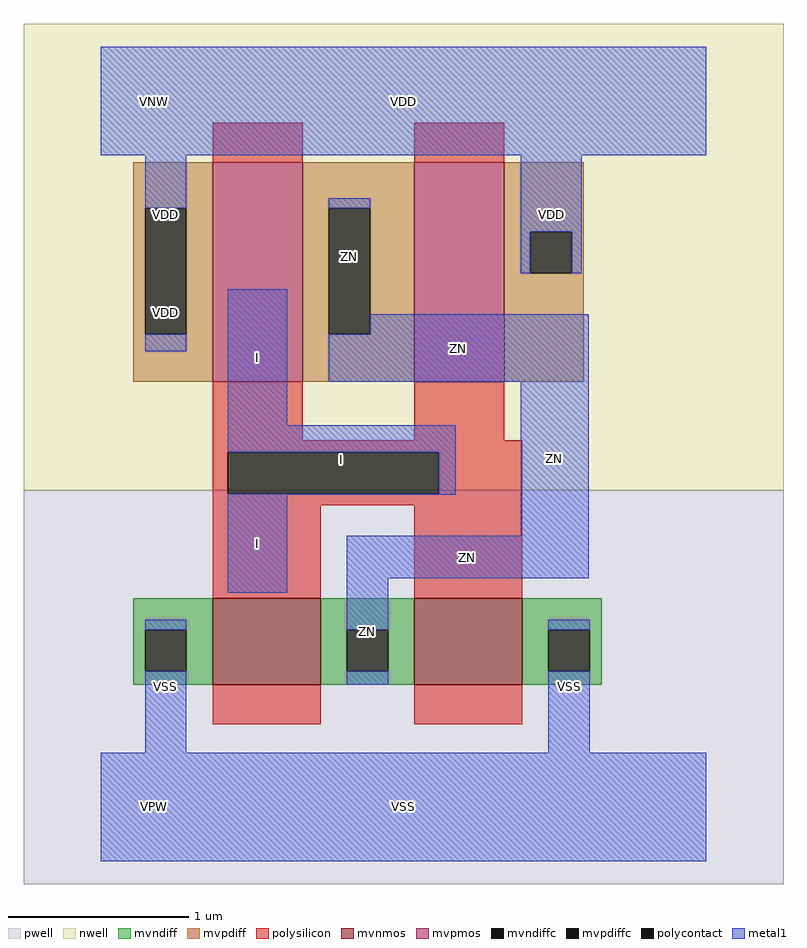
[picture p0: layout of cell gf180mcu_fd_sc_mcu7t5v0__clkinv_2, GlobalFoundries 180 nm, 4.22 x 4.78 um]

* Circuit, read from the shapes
.subckt gf180mcu_fd_sc_mcu7t5v0__clkinv_2 I ZN VDD VNW VPW VSS
XM1 ZN I VSS VPW nfet_06v0 w=0.48u l=0.6u m=2
XM2 ZN I VDD VNW pfet_06v0 w=1.22u l=0.5u m=2
.ends

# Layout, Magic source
magic
tech gf180mcuD
magscale 1 10
<< nwell >>
rect -86 352 758 870
<< pwell >>
rect -86 -86 758 352
<< mvnmos >>
rect 124 136 244 232
rect 348 136 468 232
<< mvpmos >>
rect 124 472 224 716
rect 348 472 448 716
<< mvndiff >>
rect 36 197 124 232
rect 36 151 49 197
rect 95 151 124 197
rect 36 136 124 151
rect 244 197 348 232
rect 244 151 273 197
rect 319 151 348 197
rect 244 136 348 151
rect 468 197 556 232
rect 468 151 497 197
rect 543 151 556 197
rect 468 136 556 151
<< mvpdiff >>
rect 36 665 124 716
rect 36 525 49 665
rect 95 525 124 665
rect 36 472 124 525
rect 224 665 348 716
rect 224 525 253 665
rect 299 525 348 665
rect 224 472 348 525
rect 448 639 536 716
rect 448 593 477 639
rect 523 593 536 639
rect 448 472 536 593
<< mvndiffc >>
rect 49 151 95 197
rect 273 151 319 197
rect 497 151 543 197
<< mvpdiffc >>
rect 49 525 95 665
rect 253 525 299 665
rect 477 593 523 639
<< polysilicon >>
rect 124 716 224 760
rect 348 716 448 760
rect 124 407 224 472
rect 348 407 448 472
rect 124 394 468 407
rect 124 348 141 394
rect 375 348 468 394
rect 124 335 468 348
rect 124 232 244 335
rect 348 232 468 335
rect 124 92 244 136
rect 348 92 468 136
<< polycontact >>
rect 141 348 375 394
<< metal1 >>
rect 0 724 672 844
rect 49 665 95 724
rect 253 665 299 676
rect 49 506 95 525
rect 141 424 207 575
rect 466 639 534 724
rect 466 593 477 639
rect 523 593 534 639
rect 299 525 542 547
rect 253 472 542 525
rect 141 394 394 424
rect 375 348 394 394
rect 141 347 394 348
rect 141 238 207 347
rect 466 301 542 472
rect 273 254 542 301
rect 49 197 95 208
rect 49 60 95 151
rect 273 197 319 254
rect 273 136 319 151
rect 497 197 543 208
rect 497 60 543 151
rect 0 -60 672 60
<< labels >>
flabel metal1 s 0 724 672 844 0 FreeSans 600 0 0 0 VDD
port 3 nsew power bidirectional abutment
flabel metal1 s 497 60 543 208 0 FreeSans 600 0 0 0 VSS
port 6 nsew ground bidirectional abutment
flabel metal1 s 141 424 207 575 0 FreeSans 600 0 0 0 I
port 1 nsew default input
flabel metal1 s 253 547 299 676 0 FreeSans 600 0 0 0 ZN
port 2 nsew default output
flabel nwell s 10 734 110 834 0 FreeSans 400 0 0 0 VNW
port 4 nsew power bidirectional
flabel pwell s 10 -50 110 50 0 FreeSans 400 0 0 0 VPW
port 5 nsew ground bidirectional
rlabel metal1 s 141 347 394 424 1 I
port 1 nsew default input
rlabel metal1 s 141 238 207 347 1 I
port 1 nsew default input
rlabel metal1 s 253 472 542 547 1 ZN
port 2 nsew default output
rlabel metal1 s 466 301 542 472 1 ZN
port 2 nsew default output
rlabel metal1 s 273 254 542 301 1 ZN
port 2 nsew default output
rlabel metal1 s 273 136 319 254 1 ZN
port 2 nsew default output
rlabel metal1 s 466 593 534 724 1 VDD
port 3 nsew power bidirectional abutment
rlabel metal1 s 49 593 95 724 1 VDD
port 3 nsew power bidirectional abutment
rlabel metal1 s 49 506 95 593 1 VDD
port 3 nsew power bidirectional abutment
rlabel metal1 s 49 60 95 208 1 VSS
port 6 nsew ground bidirectional abutment
rlabel metal1 s 0 -60 672 60 1 VSS
port 6 nsew ground bidirectional abutment
<< properties >>
string FIXED_BBOX 0 0 672 784
string GDS_END 820038
string GDS_FILE $PDKPATH/libs.ref/gf180mcu_fd_sc_mcu7t5v0/gds/gf180mcu_fd_sc_mcu7t5v0.gds
string GDS_START 817426
string LEFclass core
string LEFsite GF018hv5v_mcu_sc7
string LEFsymmetry X Y
<< end >>
